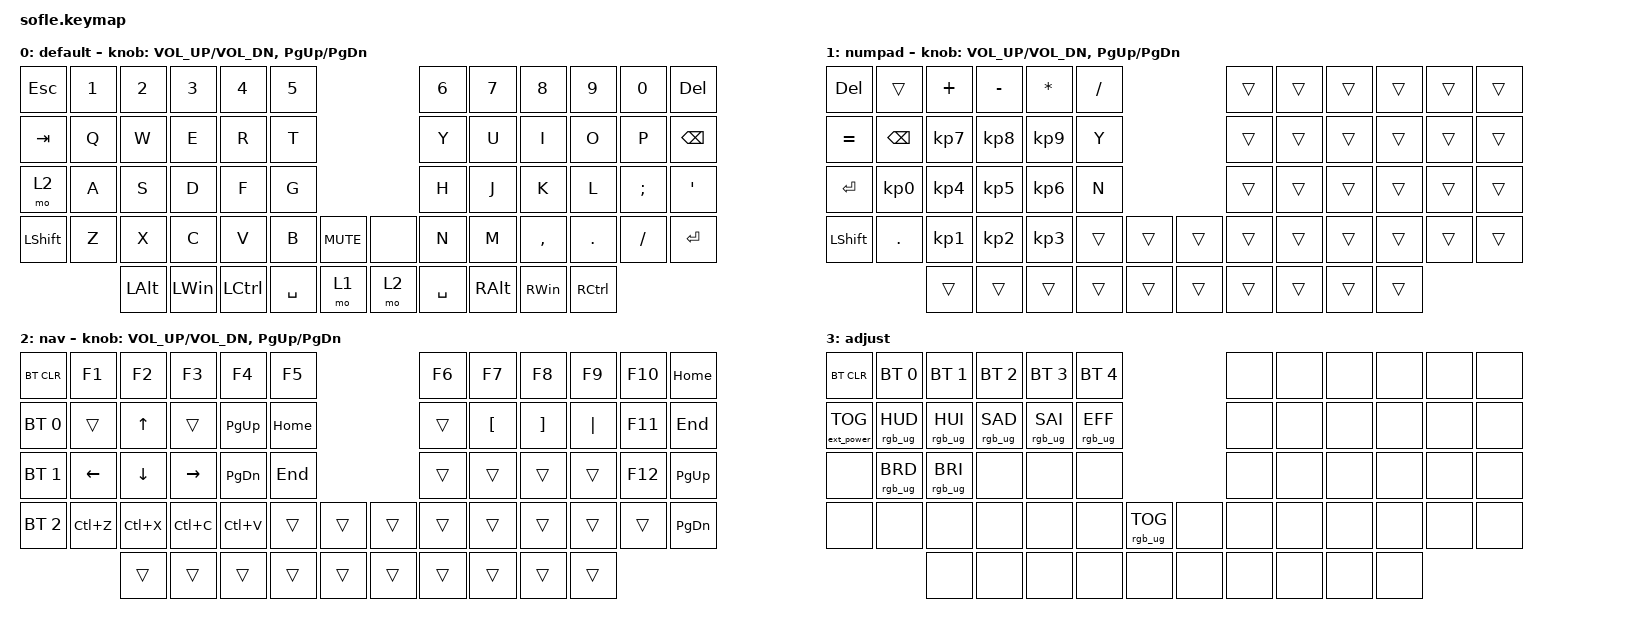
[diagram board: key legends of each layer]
/*
 * Copyright (c) 2020 The ZMK Contributors
 *
 * SPDX-License-Identifier: MIT
 */

#include <behaviors.dtsi>
#include <dt-bindings/zmk/bt.h>
#include <dt-bindings/zmk/ext_power.h>
#include <dt-bindings/zmk/keys.h>
#include <dt-bindings/zmk/rgb.h>

#define BASE 0
#define LOWER 1
#define RAISE 2
#define ADJUST 3

/ {
    // Activate ADJUST layer by pressing raise and lower

    conditional_layers {
        compatible = "zmk,conditional-layers";

        adjust_layer {
            if-layers = <LOWER RAISE>;
            then-layer = <ADJUST>;
        };
    };

    keymap {
        compatible = "zmk,keymap";

        default_layer {
            label = "default";

            // ------------------------------------------------------------------------------------------------------------
            // |   `   |  1  |  2  |  3   |  4   |  5   |                   |  6   |  7    |  8    |  9   |   0   |       |
            // |  ESC  |  Q  |  W  |  E   |  R   |  T   |                   |  Y   |  U    |  I    |  O   |   P   | BKSPC |
            // |  TAB  |  A  |  S  |  D   |  F   |  G   |                   |  H   |  J    |  K    |  L   |   ;   |   '   |
            // | SHIFT |  Z  |  X  |  C   |  V   |  B   |  MUTE  |  |       |  N   |  M    |  ,    |  .   |   /   | SHIFT |
            //               | GUI | ALT  | CTRL | LOWER|  ENTER |  | SPACE | RAISE| CTRL  | ALT   | GUI  |

            bindings = <
&kp ESC    &kp N1  &kp N2        &kp N3        &kp N4     &kp N5                          &kp N6     &kp N7         &kp N8         &kp N9     &kp N0    &kp DELETE
&kp TAB    &kp Q   &kp W         &kp E         &kp R      &kp T                           &kp Y      &kp U          &kp I          &kp O      &kp P     &kp BACKSPACE
&mo 2      &kp A   &kp S         &kp D         &kp F      &kp G                           &kp H      &kp J          &kp K          &kp L      &kp SEMI  &kp SQT
&kp LSHFT  &kp Z   &kp X         &kp C         &kp V      &kp B      &kp C_MUTE    &none  &kp N      &kp M          &kp COMMA      &kp DOT    &kp FSLH  &kp ENTER
                   &kp LEFT_ALT  &kp LEFT_WIN  &kp LCTRL  &kp SPACE  &mo 1         &mo 2  &kp SPACE  &kp RIGHT_ALT  &kp RIGHT_WIN  &kp RCTRL
            >;

            sensor-bindings = <&inc_dec_kp C_VOL_UP C_VOL_DN &inc_dec_kp PG_UP PG_DN>;
        };

        lower_layer {
            label = "numpad";

            // TODO: Some binds are waiting for shifted keycode support.
            // ------------------------------------------------------------------------------------------------------------
            // |       |  F1 |  F2 |  F3  |  F4  |  F5  |                   |  F6  |  F7   |  F8   |  F9  |  F10  |  F11  |
            // |   `   |  1  |  2  |  3   |  4   |  5   |                   |  6   |  7    |  8    |  9   |   0   |  F12  |
            // |       |  !  |  @  |  #   |  $   |  %   |                   |  ^   |  &    |  *    |  (   |   )   |   |   |
            // |       |  =  |  -  |  +   |  {   |  }   |        |  |       |  [   |  ]    |  ;    |  :   |   \   |       |
            //               |     |      |      |      |        |  |       |      |       |       |      |

            bindings = <
&kp DELETE      &trans           &kp PLUS         &kp MINUS        &kp ASTERISK     &kp SLASH                    &trans  &trans  &trans  &trans  &trans  &trans
&kp EQUAL       &kp BACKSPACE    &kp KP_NUMBER_7  &kp KP_NUMBER_8  &kp KP_NUMBER_9  &kp Y                        &trans  &trans  &trans  &trans  &trans  &trans
&kp ENTER       &kp KP_NUMBER_0  &kp KP_NUMBER_4  &kp KP_NUMBER_5  &kp KP_NUMBER_6  &kp N                        &trans  &trans  &trans  &trans  &trans  &trans
&kp LEFT_SHIFT  &kp PERIOD       &kp KP_NUMBER_1  &kp KP_NUMBER_2  &kp KP_NUMBER_3  &trans     &trans    &trans  &trans  &trans  &trans  &trans  &trans  &trans
                                 &trans           &trans           &trans           &trans     &trans    &trans  &trans  &trans  &trans  &trans
            >;

            sensor-bindings =
                <&inc_dec_kp C_VOL_UP C_VOL_DN>,
                <&inc_dec_kp PG_UP PG_DN>;
        };

        raise_layer {
            label = "nav";

            // ------------------------------------------------------------------------------------------------------------
            // | BTCLR | BT1  | BT2  |  BT3  |  BT4  |  BT5 |                |      |      |       |      |       |       |
            // |       | INS  | PSCR | GUI   |       |      |                | PGUP |      |   ^   |      |       |       |
            // |       | ALT  | CTRL | SHIFT |       | CAPS |                | PGDN |   <- |   v   |  ->  |  DEL  | BKSPC |
            // |       | UNDO | CUT  | COPY  | PASTE |      |      |  |      |      |      |       |      |       |       |
            //                |      |       |       |      |      |  |      |      |      |       |      |

            bindings = <
&bt BT_CLR    &kp F1     &kp F2          &kp F3           &kp F4         &kp F5                      &kp F6  &kp F7            &kp F8             &kp F9    &kp F10  &kp HOME
&bt BT_SEL 0  &trans     &kp UP_ARROW    &trans           &kp PAGE_UP    &kp HOME                    &trans  &kp LEFT_BRACKET  &kp RIGHT_BRACKET  &kp PIPE  &kp F11  &kp END
&bt BT_SEL 1  &kp LEFT   &kp DOWN_ARROW  &kp RIGHT_ARROW  &kp PAGE_DOWN  &kp END                     &trans  &trans            &trans             &trans    &kp F12  &kp PAGE_UP
&bt BT_SEL 2  &kp LC(Z)  &kp LC(X)       &kp LC(C)        &kp LC(V)      &trans    &trans    &trans  &trans  &trans            &trans             &trans    &trans   &kp PAGE_DOWN
                         &trans          &trans           &trans         &trans    &trans    &trans  &trans  &trans            &trans             &trans
            >;

            sensor-bindings = <&inc_dec_kp C_VOL_UP C_VOL_DN &inc_dec_kp PG_UP PG_DN>;
        };

        adjust_layer {
            // ----------------------------------------------------------------------------------------------------------------------------
            // | BTCLR  |  BT1    |  BT2    |   BT3   |   BT4   |   BT5   |                  |      |      |       |      |       |       |
            // | EXTPWR | RGB_HUD | RGB_HUI | RGB_SAD | RGB_SAI | RGB_EFF |                  |      |      |       |      |       |       |
            // |        | RGB_BRD | RGB_BRI |         |         |         |                  |      |      |       |      |       |       |
            // |        |         |         |         |         |         | RGB_TOG | |      |      |      |       |      |       |       |
            //                    |         |         |         |         |         | |      |      |      |       |      |

            label = "adjust";
            bindings = <
&bt BT_CLR         &bt BT_SEL 0     &bt BT_SEL 1     &bt BT_SEL 2     &bt BT_SEL 3     &bt BT_SEL 4                               &none  &none  &none  &none  &none  &none
&ext_power EP_TOG  &rgb_ug RGB_HUD  &rgb_ug RGB_HUI  &rgb_ug RGB_SAD  &rgb_ug RGB_SAI  &rgb_ug RGB_EFF                            &none  &none  &none  &none  &none  &none
&none              &rgb_ug RGB_BRD  &rgb_ug RGB_BRI  &none            &none            &none                                      &none  &none  &none  &none  &none  &none
&none              &none            &none            &none            &none            &none            &rgb_ug RGB_TOG    &none  &none  &none  &none  &none  &none  &none
                                    &none            &none            &none            &none            &none              &none  &none  &none  &none  &none
            >;
        };
    };
};
